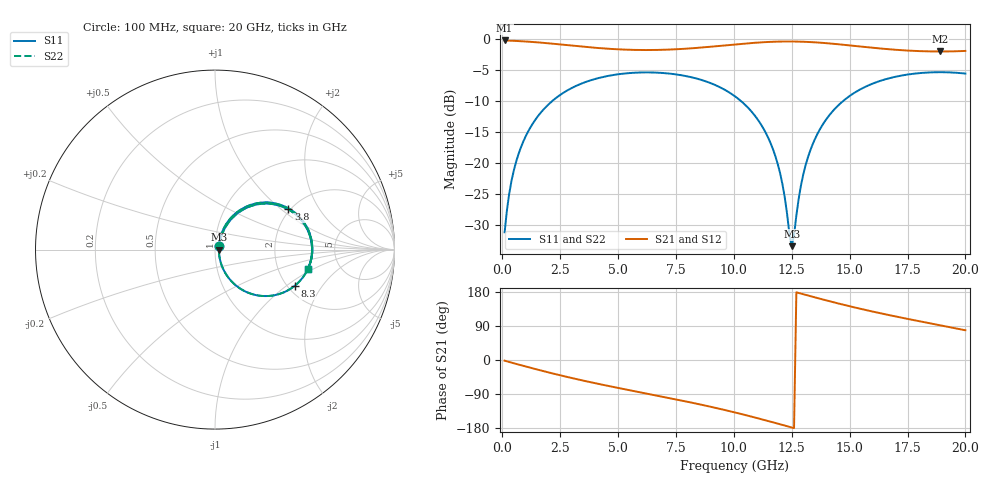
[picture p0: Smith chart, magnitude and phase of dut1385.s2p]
! Touchstone file exported from HFSS 2026.1.0
!  File:  C:/ffzhzh/LocalFiles/Ansys_Project_Files/temp_train_TSV_RDL_1385_1783348852_37376.aedt
!  Generated:  10:53:37 PM Jul  6, 2026
!  Design:  TSV_RDL
!  Project:  temp_train_TSV_RDL_1385_1783348852_37376
! Variables:
!  h_bsmrdl = 2.8um
!  h_ox = 20um
!  h_rdl = 5um
!  h_sub = 73.43um
!  h_tmrdl = 2.81um
!  h_tsv = 73.43um
!  h_via = 3um
!  l_bsmrdl = 948.84um
!  l_sub = 4863.74um
!  l_tmrdl = 363.67um
!  m_sub = 200um
!  pitch = 59.82um
!  r_tsv = 13.6um
!  s_tmrdl = 10um
!  w_bsmrdl = 26.23um
!  w_sub = 500um
!  w_tmrdl = 27.95um
!  x_tsv_center1 = 377.645um
!  x_tsv_center2 = 1352.715um
!  x_tsv_center3 = 1744.335um
!  x_tsv_center4 = 2719.405um
!  x_tsv_center5 = 3111.025um
!  x_tsv_center6 = 4086.095um
# GHz S MA R 50.000000
! Terminal data exported
! Port[1] = TM_RDL1_1_T1
! Port[2] = TM_RDL5_1_T1
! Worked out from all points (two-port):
!   200 points, 100 MHz to 20 GHz, reference 50 ohm
!   highest |S21| = -0.19 dB at 100 MHz (marker M1); lowest = -2.0 dB at 18.9 GHz (marker M2)
!   |S21| within 3 dB of the highest: start of sweep to end of sweep
!   lowest |S11| = -33.4 dB at 12.5 GHz (marker M3), VSWR 1.04, Z = 52.2 - j0.049 ohm
!   |S11| at or under -10 dB: start of sweep to 2.146 GHz; 10.32 GHz to 14.71 GHz (4.388 GHz wide, 35.1 % of centre)
!   |S22| runs from -33.4 to -5.3 dB; largest |S21 - S12| = 3.6e-14
!   S11 on the Smith chart (normalised r, x): 100 MHz: 1.04, +0.04; 3.8 GHz: 1.96, +1.12; 8.3 GHz: 2.17, -1.15; 20 GHz: 2.95, -0.88
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0.1  0.02769 38.7  0.9788 -1.8  0.9788 -1.8  0.02769 38.7
! Gamma 0 0 0 0
! Port Impedance 50 0 50 0
0.3  0.05696 60.9  0.9756 -5.3  0.9756 -5.3  0.05696 60.9
0.5  0.08784 65.1  0.9718 -8.7  0.9718 -8.7  0.08784 65.1
1.1  0.178 62.9  0.9579 -18.6  0.9579 -18.6  0.178 62.9
2.1  0.3109 50.8  0.9243 -34.4  0.9243 -34.4  0.3109 50.8
3.5  0.4451 32.6  0.871 -54.5  0.871 -54.5  0.4451 32.6
3.8  0.4657 28.8  0.8608 -58.5  0.8608 -58.5  0.4657 28.8
5.3  0.53 10.7  0.8255 -77.4  0.8255 -77.4  0.53 10.7
6.8  0.5368 -6.7  0.8215 -95.4  0.8215 -95.4  0.5368 -6.7
8.3  0.4873 -24.6  0.8494 -114.1  0.8494 -114.1  0.4873 -24.6
10.1  0.3411 -48.0  0.9106 -139.2  0.9106 -139.2  0.3412 -48.0
11  0.2295 -59.9  0.9401 -153.2  0.9401 -153.2  0.2295 -59.9
11.7  0.1281 -66.8  0.9555 -164.6  0.9555 -164.6  0.1282 -66.8
12.1  0.0676 -64.6  0.9598 -171.3  0.9598 -171.3  0.06764 -64.5
12.5  0.0214 -1.3  0.9603 -178.1  0.9603 -178.1  0.02149 -1.3
12.9  0.06634 65.0  0.957 175.2  0.957 175.2  0.06636 64.9
13.4  0.1415 67.0  0.9478 166.9  0.9478 166.9  0.1415 67.0
14  0.2272 60.8  0.9305 157.2  0.9305 157.2  0.2272 60.8
14.7  0.3155 51.8  0.9049 146.3  0.9049 146.3  0.3155 51.7
16.7  0.4844 26.2  0.8312 118.5  0.8312 118.5  0.4844 26.1
18.9  0.5427 0.7  0.7973 91.7  0.7973 91.7  0.5427 0.7
20  0.5286 -11.7  0.8055 78.5  0.8055 78.5  0.5287 -11.8
